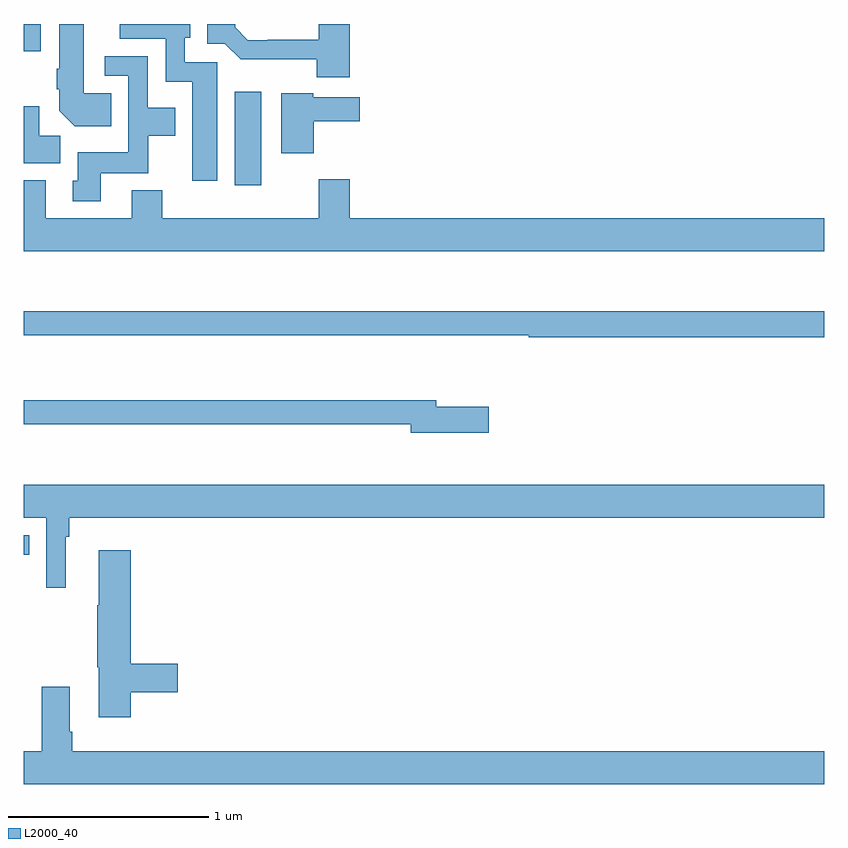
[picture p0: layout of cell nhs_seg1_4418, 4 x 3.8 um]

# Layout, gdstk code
import gdstk
lib = gdstk.Library(unit=1e-6, precision=1e-09)
def R(c, l, rs):  # rectangles x0, y0, x1, y1
    for r in rs: c.add(gdstk.rectangle(r[:2], r[2:], *l))
def P(c, l, *ps):  # polygons
    for p in ps: c.add(gdstk.Polygon(p, *l))
L2000_40 = (2000, 40)

nhs_seg1_4418 = lib.new_cell('nhs_seg1_4418')
R(nhs_seg1_4418, L2000_40, [(351,551.547,351.026,551.643), (352.055,553.392,352.186,553.861), (351,554.064,351.084,554.199)])
P(nhs_seg1_4418, L2000_40, [(352.628,554.199),(352.475,554.199),(352.475,554.121),(352.219,554.121),(352.219,554.118),(352.12,554.118),(352.056,554.182),(352.056,554.197),(351.917,554.197),(351.917,554.1),(352.005,554.1),(352.084,554.022),(352.463,554.022),(352.463,553.932),(352.628,553.932)],
  [(351.967,554.007),(351.804,554.007),(351.804,554.13),(351.832,554.13),(351.832,554.199),(351.48,554.199),(351.48,554.126),(351.708,554.126),(351.708,553.91),(351.842,553.91),(351.842,553.416),(351.967,553.416)],
  [(351.437,553.852),(351.298,553.852),(351.298,554.199),(351.176,554.199),(351.176,553.976),(351.164,553.976),(351.164,553.873),(351.176,553.873),(351.176,553.766),(351.254,553.688),(351.437,553.688)],
  [(351.385,553.454),(351.621,553.454),(351.621,553.64),(351.757,553.64),(351.757,553.78),(351.618,553.78),(351.618,554.037),(351.405,554.037),(351.405,553.941),(351.522,553.941),(351.522,553.558),(351.269,553.558),(351.269,553.416),(351.245,553.416),(351.245,553.314),(351.385,553.314)],
  [(352.45,553.712),(352.678,553.712),(352.678,553.834),(352.446,553.834),(352.446,553.852),(352.286,553.852),(352.286,553.554),(352.45,553.554)],
  [(351.181,553.64),(351.076,553.64),(351.076,553.789),(351,553.789),(351,553.502),(351.181,553.502)],
  [(355,553.228),(352.628,553.228),(352.628,553.423),(352.475,553.423),(352.475,553.228),(351.692,553.228),(351.692,553.369),(351.539,553.369),(351.539,553.228),(351.109,553.228),(351.109,553.417),(351,553.417),(351,553.064),(355,553.064)],
  [(355,552.763),(351,552.763),(351,552.642),(353.524,552.642),(353.524,552.634),(355,552.634)],
  [(353.323,552.285),(353.062,552.285),(353.062,552.319),(351,552.319),(351,552.198),(352.934,552.198),(352.934,552.155),(353.323,552.155)],
  [(351.208,551.636),(351.227,551.636),(351.227,551.732),(355,551.732),(355,551.896),(351,551.896),(351,551.732),(351.111,551.732),(351.111,551.382),(351.208,551.382)],
  [(351.533,550.858),(351.769,550.858),(351.769,551),(351.533,551),(351.533,551.569),(351.374,551.569),(351.374,551.294),(351.367,551.294),(351.367,550.983),(351.374,550.983),(351.374,550.734),(351.533,550.734)],
  [(355,550.564),(351.242,550.564),(351.242,550.66),(351.229,550.66),(351.229,550.885),(351.089,550.885),(351.089,550.564),(351,550.564),(351,550.4),(355,550.4)])

lib.write_gds('nhs_seg1_4418.gds')
